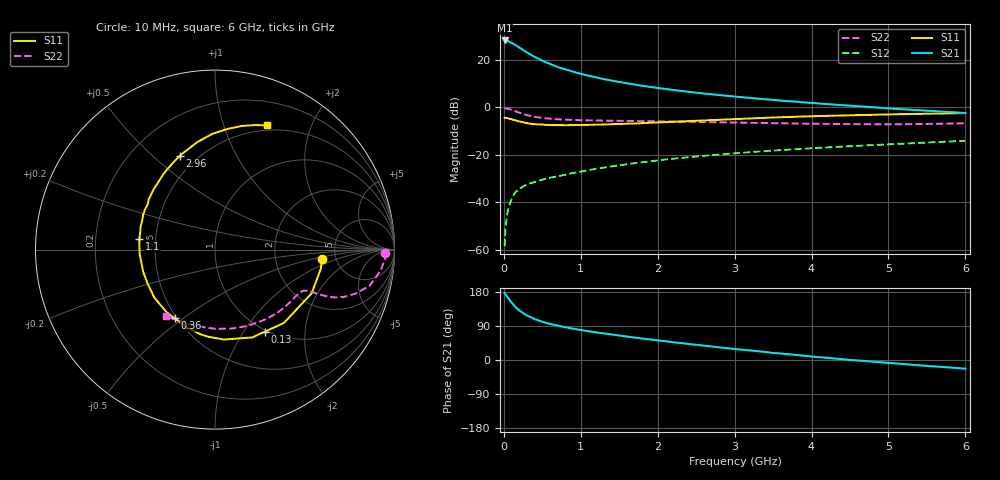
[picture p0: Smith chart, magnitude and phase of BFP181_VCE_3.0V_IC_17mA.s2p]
! Infineon Technologies  Discrete & RF Semiconductors
! BFP181
! VCE = 3.0 V,  IC =  17 mA
! Common Emitter S-Parameters:  Jan 2016
# GHz  S  MA  R  50
!  f  S11  S21  S12  S22
! GHz  MAG  ANG  MAG  ANG  MAG  ANG  MAG  ANG
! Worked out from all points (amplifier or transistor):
!   210 points, 10 MHz to 6 GHz, reference 50 ohm
!   highest |S21| = 28.0 dB at 10 MHz (marker M1)
!   |S21| within 3 dB of that: start of sweep to 203.9 MHz
!   unconditionally stable (mu >= 1): start of sweep to 11.2 MHz; 619.6 MHz to end of sweep
!   at 185 MHz: K = 0.45, MSG = 30.1 dB, |S12| = -34.8 dB
!   at 1.52 GHz: K = 1.33, MAG = 14.0 dB, |S12| = -24.3 dB
!   at 6 GHz: K = 1.07, MAG = 4.3 dB, |S12| = -14.2 dB
!   S11 on the Smith chart (normalised r, x): 10 MHz: 3.88, -0.62; 130 MHz: 0.98, -1.25; 360 MHz: 0.49, -0.46; 1.1 GHz: 0.40, +0.06; 2.96 GHz: 0.40, +0.61; 6 GHz: 0.44, +1.40
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0.01  0.5987 -4.9  25.19 176.8  0.0012 83.5  0.9487 -1.1
0.05  0.5911 -24.3  24.63 165.1  0.0065 83.3  0.9308 -7.1
0.1  0.5608 -46.8  22.5 151.7  0.0116 68.2  0.8843 -13.2
0.13  0.5351 -58.7  21.05 145.0  0.0144 65.1  0.8453 -15.6
0.15  0.5315 -67.0  20.27 140.0  0.0163 63.6  0.8203 -17.4
0.195  0.5046 -82.3  18.21 131.8  0.0188 58.9  0.7698 -19.9
0.24  0.487 -94.5  16.26 125.0  0.021 55.9  0.7263 -21.5
0.3  0.4619 -109.6  14.1 117.5  0.0237 54.5  0.6789 -22.7
0.36  0.4436 -120.4  12.44 112.2  0.0256 53.2  0.6468 -23.0
0.4  0.4406 -127.9  11.4 107.8  0.0269 52.5  0.6254 -23.3
0.5  0.431 -141.8  9.434 100.8  0.0299 51.3  0.5917 -23.6
0.6  0.4207 -153.3  8.077 95.2  0.033 51.9  0.5704 -23.9
0.8  0.4169 -170.1  6.188 86.3  0.0381 53.3  0.5453 -24.8
1.02  0.4228 176.2  4.915 78.5  0.0448 54.4  0.5311 -26.6
1.1  0.426 171.7  4.583 75.8  0.0478 54.4  0.5272 -27.4
1.5  0.445 154.1  3.369 64.4  0.0601 54.9  0.5154 -32.1
2.02  0.4789 135.6  2.501 51.3  0.077 53.1  0.5027 -39.7
2.96  0.5577 110.6  1.694 29.9  0.1061 47.4  0.4756 -56.2
3.1  0.5694 107.4  1.615 27.2  0.1103 46.4  0.4708 -58.9
4.1  0.6505 89.8  1.192 7.6  0.14 38.8  0.4464 -80.5
5.1  0.7094 76.6  0.922 -9.2  0.1685 31.2  0.4371 -104.6
6  0.7497 67.4  0.754 -22.9  0.1961 23.6  0.4593 -126.3
